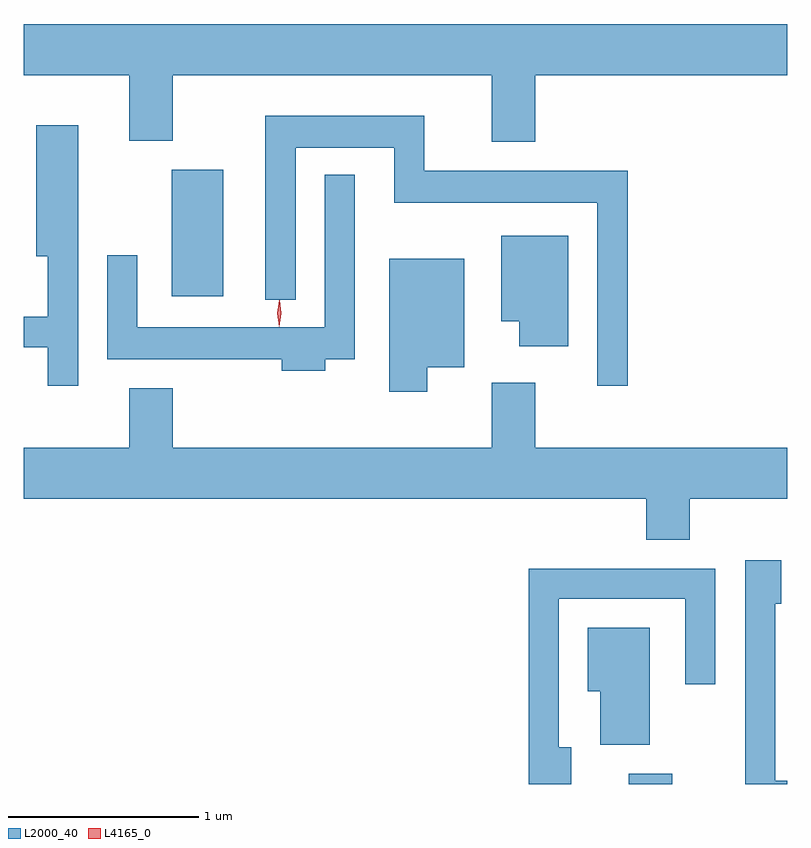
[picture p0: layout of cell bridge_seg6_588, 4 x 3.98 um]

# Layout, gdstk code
import gdstk
lib = gdstk.Library(unit=1e-6, precision=1e-09)
def R(c, l, rs):  # rectangles x0, y0, x1, y1
    for r in rs: c.add(gdstk.rectangle(r[:2], r[2:], *l))
def P(c, l, *ps):  # polygons
    for p in ps: c.add(gdstk.Polygon(p, *l))
L2000_40 = (2000, 40)
L4165_0 = (4165, 0)

bridge_seg6_588 = lib.new_cell('bridge_seg6_588')
R(bridge_seg6_588, L2000_40, [(546.221,1612.921,546.449,1612.974), (543.826,1615.476,544.094,1616.139)])
P(bridge_seg6_588, L2000_40, [(545.729,1616.636),(547.05,1616.636),(547.05,1616.904),(543.05,1616.904),(543.05,1616.636),(543.601,1616.636),(543.601,1616.291),(543.829,1616.291),(543.829,1616.636),(545.501,1616.636),(545.501,1616.286),(545.729,1616.286)],
  [(546.214,1616.134),(545.149,1616.134),(545.149,1616.424),(544.316,1616.424),(544.316,1615.458),(544.474,1615.458),(544.474,1616.256),(544.991,1616.256),(544.991,1615.966),(546.056,1615.966),(546.056,1615.008),(546.214,1615.008)],
  [(543.334,1616.374),(543.116,1616.374),(543.116,1615.686),(543.176,1615.686),(543.176,1615.369),(543.05,1615.369),(543.05,1615.211),(543.176,1615.211),(543.176,1615.008),(543.334,1615.008)],
  [(544.629,1615.146),(544.784,1615.146),(544.784,1616.113),(544.626,1616.113),(544.626,1615.314),(543.644,1615.314),(543.644,1615.693),(543.486,1615.693),(543.486,1615.146),(544.401,1615.146),(544.401,1615.086),(544.629,1615.086)],
  [(545.904,1615.794),(545.551,1615.794),(545.551,1615.346),(545.646,1615.346),(545.646,1615.216),(545.904,1615.216)],
  [(545.164,1615.106),(545.359,1615.106),(545.359,1615.674),(544.966,1615.674),(544.966,1614.976),(545.164,1614.976)],
  [(546.539,1614.416),(547.05,1614.416),(547.05,1614.684),(545.729,1614.684),(545.729,1615.024),(545.501,1615.024),(545.501,1614.684),(543.829,1614.684),(543.829,1614.994),(543.601,1614.994),(543.601,1614.684),(543.05,1614.684),(543.05,1614.416),(546.311,1614.416),(546.311,1614.201),(546.539,1614.201)],
  [(547.05,1612.939),(546.989,1612.939),(546.989,1613.866),(547.019,1613.866),(547.019,1614.094),(546.831,1614.094),(546.831,1612.921),(547.05,1612.921)],
  [(545.919,1613.114),(545.854,1613.114),(545.854,1613.891),(546.516,1613.891),(546.516,1613.443),(546.674,1613.443),(546.674,1614.049),(545.696,1614.049),(545.696,1612.921),(545.919,1612.921)],
  [(546.329,1613.739),(546.006,1613.739),(546.006,1613.406),(546.071,1613.406),(546.071,1613.126),(546.329,1613.126)])
P(bridge_seg6_588, L4165_0, [(544.389,1615.317),(544.388,1615.318),(544.379,1615.387),(544.389,1615.456),(544.389,1615.456),(544.39,1615.456),(544.399,1615.387),(544.389,1615.318)])

lib.write_gds('bridge_seg6_588.gds')
